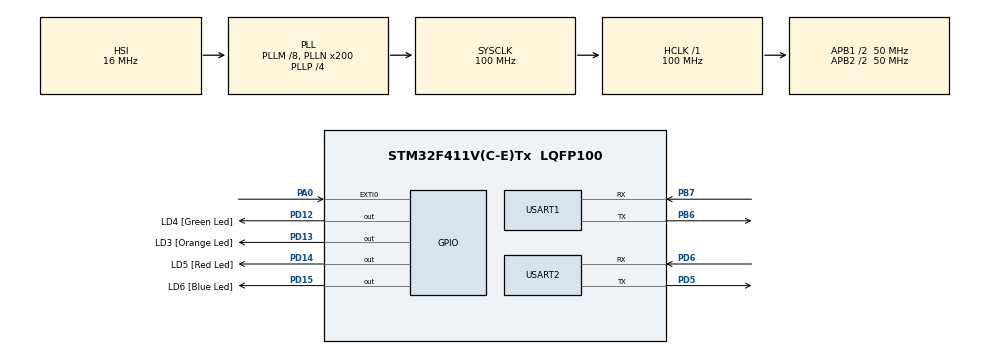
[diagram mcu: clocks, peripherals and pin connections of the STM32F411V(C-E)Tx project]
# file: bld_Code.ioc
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Mcu.Family=STM32F4
Mcu.Name=STM32F411V(C-E)Tx
Mcu.Package=LQFP100
NVIC.PriorityGroup=NVIC_PRIORITYGROUP_0
PA0-WKUP.GPIO_ModeDefaultEXTI=GPIO_MODE_EVT_RISING
PA0-WKUP.Signal=GPXTI0
PA13.GPIO_Label=SWDIO
PA13.Signal=SYS_JTMS-SWDIO
PA14.GPIO_Label=SWCLK
PA14.Signal=SYS_JTCK-SWCLK
PB3.GPIO_Label=SWO
PB3.Signal=SYS_JTDO-SWO
PB6.Mode=Asynchronous
PB6.Signal=USART1_TX
PB7.Mode=Asynchronous
PB7.Signal=USART1_RX
PD12.GPIO_Label=LD4 [Green Led]
PD12.GPIO_PuPd=GPIO_NOPULL
PD12.GPIO_Speed=GPIO_SPEED_FREQ_LOW
PD12.Signal=GPIO_Output
PD13.GPIO_Label=LD3 [Orange Led]
PD13.GPIO_PuPd=GPIO_NOPULL
PD13.GPIO_Speed=GPIO_SPEED_FREQ_LOW
PD13.Signal=GPIO_Output
PD14.GPIO_Label=LD5 [Red Led]
PD14.GPIO_PuPd=GPIO_NOPULL
PD14.GPIO_Speed=GPIO_SPEED_FREQ_LOW
PD14.Signal=GPIO_Output
PD15.GPIO_Label=LD6 [Blue Led]
PD15.GPIO_PuPd=GPIO_NOPULL
PD15.GPIO_Speed=GPIO_SPEED_FREQ_LOW
PD15.Signal=GPIO_Output
PD5.Mode=Asynchronous
PD5.Signal=USART2_TX
PD6.Mode=Asynchronous
PD6.Signal=USART2_RX
ProjectManager.HeapSize=0x200
ProjectManager.StackSize=0x400
ProjectManager.TargetToolchain=STM32CubeIDE
RCC.48MHZClocksFreq_Value=50000000
RCC.AHBFreq_Value=100000000
RCC.APB1CLKDivider=RCC_HCLK_DIV2
RCC.APB1Freq_Value=50000000
RCC.APB1TimFreq_Value=100000000
RCC.APB2CLKDivider=RCC_HCLK_DIV2
RCC.APB2Freq_Value=50000000
RCC.APB2TimFreq_Value=100000000
RCC.CortexFreq_Value=100000000
RCC.HCLKFreq_Value=100000000
RCC.HSE_VALUE=8000000
RCC.HSI_VALUE=16000000
RCC.LSE_VALUE=32768
RCC.PLLI2SM=5
RCC.PLLI2SN=200
RCC.PLLM=8
RCC.PLLN=200
RCC.PLLP=RCC_PLLP_DIV4
RCC.PLLQ=8
RCC.SYSCLKFreq_VALUE=100000000
RCC.SYSCLKSource=RCC_SYSCLKSOURCE_PLLCLK
RCC.VCOOutputFreq_Value=400000000
USART1.VirtualMode=VM_ASYNC
USART2.VirtualMode=VM_ASYNC
VP_CRC_VS_CRC.Mode=CRC_Activate
board=STM32F411E-DISCO

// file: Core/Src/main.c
/* USER CODE BEGIN Header */
/**
 ******************************************************************************
 * @file           : main.c
 * @brief          : Main program body
 ******************************************************************************
 * @attention
 *
 * Copyright (c) 2023 STMicroelectronics.
 * All rights reserved.
 *
 * This software is licensed under terms that can be found in the LICENSE file
 * in the root directory of this software component.
 * If no LICENSE file comes with this software, it is provided AS-IS.
 *
 ******************************************************************************
 */
/* USER CODE END Header */
#include "main.h"

/* USER CODE BEGIN Includes */
#include <stdarg.h>
#include <string.h>
#include <stdint.h>
#include <stdio.h>
/* USER CODE END Includes */

CRC_HandleTypeDef hcrc;

UART_HandleTypeDef huart1;
UART_HandleTypeDef huart2;

/* USER CODE BEGIN PV */
#define FLASH_SECTOR2_BASE_ADDRESS 0x8008000U

//enable this line to get debug messages over debug uart
#define BL_DEBUG_MSG_EN

#define rc_data_length 200
uint8_t rc_data[rc_data_length];

#define BL_GET_VER 						0x51
#define BL_GET_HELP						0x52
#define BL_GET_CID						0x53
#define BL_GET_RDP_STATUS				0x54
#define BL_GO_TO_ADDR					0x55
#define BL_FLASH_ERASE					0x56
#define BBL_MEM_WRITE					0x57
#define BL_EN_R_W_PROTECT				0x58
#define BL_MEM_READ						0x59
#define BL_READ_SECTOR_STATUS			0x5A
#define BL_OTP_READ						0x5B
#define BL_DIS_R_W_PROTECT				0x5C

//#len details of the command
#define COMMAND_BL_GET_VER_LEN                              =6
#define COMMAND_BL_GET_HELP_LEN                             =6
#define COMMAND_BL_GET_CID_LEN                              =6
#define COMMAND_BL_GET_RDP_STATUS_LEN                       =6
#define COMMAND_BL_GO_TO_ADDR_LEN                           =10
#define COMMAND_BL_FLASH_ERASE_LEN                          =8
#define COMMAND_BL_MEM_WRITE_LEN                            =11
#define COMMAND_BL_EN_R_W_PROTECT_LEN                       =8
#define COMMAND_BL_READ_SECTOR_P_STATUS_LEN                 =6
#define COMMAND_BL_DIS_R_W_PROTECT_LEN                      =6
#define COMMAND_BL_MY_NEW_COMMAND_LEN                       =8

/*	CHECK CRC 	*/
#define CRC_CORRECT 	1
#define CRC_FAILED 		0

/* ACK and NACK bytes*/
#define BL_ACK   0XA5
#define BL_NACK  0X7F

//version 1.0
#define BL_VERSION 				0x10

#define ADDR_VALID 				0x00
#define ADDR_INVALID 			0x01

#define INVALID_SECTOR 			0x04

/*Some Start and End addresses of different memories of STM32F446xx MCU */
/*Change this according to your MCU */
#define SRAM1_SIZE            	128*1024     				// STM32F411xx has 128KB of SRAM1
#define SRAM1_END             	(SRAM1_BASE + SRAM1_SIZE)
#define FLASH_SIZE             	512*1024     				// STM32F411xx has 512KB of FLASH

/* USER CODE END PV */

void SystemClock_Config(void);
static void MX_GPIO_Init(void);
static void MX_CRC_Init(void);
static void MX_USART1_UART_Init(void);
static void MX_USART2_UART_Init(void);
/* USER CODE BEGIN PFP */
static void printmsg(char *format, ...);
static void userMode(void);
static void bootloaderMode(void);

void BL_GET_VER_handler(void);
void BL_GET_HELP_handler(void);
void BL_GET_CID_handler(void);
void BL_GET_RDP_STATUS_handler(void);
void BL_GO_TO_ADDR_handler(void);
void BL_FLASH_ERASE_handler(void);
void BL_MEM_WRITE_handler(void);
void BL_EN_R_W_PROTECT_handler(void);
void BL_MEM_READ_handler(void);
void BL_READ_SECTOR_STATUS_handler(void);
void BL_OTP_READ_handler(void);
void BL_DIS_R_W_PROTECT_handler(void);

uint8_t checkCRC(uint8_t *pBuffer_data, uint8_t pBuffer_len_cmd,
		uint32_t CRC_host);

void send_Reply(uint8_t *pBuffer, uint8_t length);
void send_NACK(void);
void send_ACK(uint8_t length);

uint8_t verify_address(uint32_t go_address);

uint8_t execute_mem_write(uint8_t *pBuffer, uint32_t mem_address, uint32_t len);

/* USER CODE END PFP */

int main(void) {

	/* MCU Configuration--------------------------------------------------------*/

	/* Reset of all peripherals, Initializes the Flash interface and the Systick. */
	HAL_Init();

	/* Configure the system clock */
	SystemClock_Config();

	/* Initialize all configured peripherals */
	MX_GPIO_Init();
	MX_CRC_Init();
	MX_USART1_UART_Init();
	MX_USART2_UART_Init();

	/* Infinite loop */
	while (1) {

		/* USER CODE BEGIN 3 */

		/* Lets check whether button is pressed or not, if not pressed jump to user application */
		if (HAL_GPIO_ReadPin(GPIOA, GPIO_PIN_0) == 1) {
			//			printmsg("BL_DEBUG_MSG:Button is pressed .. going to BL mode\n\r");
			HAL_GPIO_WritePin(GPIOD, LD4_Pin, GPIO_PIN_SET);
			//we should continue in bootloader mode
			bootloaderMode();

		} else {
			printmsg(
					"BL_DEBUG_MSG:Button is not pressed .. executing user app\n\r");
			HAL_GPIO_WritePin(GPIOD, LD3_Pin, GPIO_PIN_SET);

			//jump to user application
			userMode();

		}
	}
}
/* USER CODE END 3 */

void SystemClock_Config(void) {
	RCC_OscInitTypeDef RCC_OscInitStruct = { 0 };
	RCC_ClkInitTypeDef RCC_ClkInitStruct = { 0 };

	/** Configure the main internal regulator output voltage
	 */
	__HAL_RCC_PWR_CLK_ENABLE();
	__HAL_PWR_VOLTAGESCALING_CONFIG(PWR_REGULATOR_VOLTAGE_SCALE1);
	/** Initializes the RCC Oscillators according to the specified parameters
	 * in the RCC_OscInitTypeDef structure.
	 */
	RCC_OscInitStruct.OscillatorType = RCC_OSCILLATORTYPE_HSI;
	RCC_OscInitStruct.HSIState = RCC_HSI_ON;
	RCC_OscInitStruct.HSICalibrationValue = RCC_HSICALIBRATION_DEFAULT;
	RCC_OscInitStruct.PLL.PLLState = RCC_PLL_ON;
	RCC_OscInitStruct.PLL.PLLSource = RCC_PLLSOURCE_HSI;
	RCC_OscInitStruct.PLL.PLLM = 8;
	RCC_OscInitStruct.PLL.PLLN = 200;
	RCC_OscInitStruct.PLL.PLLP = RCC_PLLP_DIV4;
	RCC_OscInitStruct.PLL.PLLQ = 8;
	if (HAL_RCC_OscConfig(&RCC_OscInitStruct) != HAL_OK) {
		Error_Handler();
	}
	/** Initializes the CPU, AHB and APB buses clocks
	 */
	RCC_ClkInitStruct.ClockType = RCC_CLOCKTYPE_HCLK | RCC_CLOCKTYPE_SYSCLK
			| RCC_CLOCKTYPE_PCLK1 | RCC_CLOCKTYPE_PCLK2;
	RCC_ClkInitStruct.SYSCLKSource = RCC_SYSCLKSOURCE_PLLCLK;
	RCC_ClkInitStruct.AHBCLKDivider = RCC_SYSCLK_DIV1;
	RCC_ClkInitStruct.APB1CLKDivider = RCC_HCLK_DIV2;
	RCC_ClkInitStruct.APB2CLKDivider = RCC_HCLK_DIV2;

	if (HAL_RCC_ClockConfig(&RCC_ClkInitStruct, FLASH_LATENCY_3) != HAL_OK) {
		Error_Handler();
	}
}

static void MX_CRC_Init(void) {

	hcrc.Instance = CRC;
	if (HAL_CRC_Init(&hcrc) != HAL_OK) {
		Error_Handler();
	}

}

static void MX_USART1_UART_Init(void) {

	huart1.Instance = USART1;
	huart1.Init.BaudRate = 115200;
	huart1.Init.WordLength = UART_WORDLENGTH_8B;
	huart1.Init.StopBits = UART_STOPBITS_1;
	huart1.Init.Parity = UART_PARITY_NONE;
	huart1.Init.Mode = UART_MODE_TX_RX;
	huart1.Init.HwFlowCtl = UART_HWCONTROL_NONE;
	huart1.Init.OverSampling = UART_OVERSAMPLING_16;
	if (HAL_UART_Init(&huart1) != HAL_OK) {
		Error_Handler();
	}

}

static void MX_USART2_UART_Init(void) {

	huart2.Instance = USART2;
	huart2.Init.BaudRate = 115200;
	huart2.Init.WordLength = UART_WORDLENGTH_8B;
	huart2.Init.StopBits = UART_STOPBITS_1;
	huart2.Init.Parity = UART_PARITY_NONE;
	huart2.Init.Mode = UART_MODE_TX_RX;
	huart2.Init.HwFlowCtl = UART_HWCONTROL_NONE;
	huart2.Init.OverSampling = UART_OVERSAMPLING_16;
	if (HAL_UART_Init(&huart2) != HAL_OK) {
		Error_Handler();
	}

}

static void MX_GPIO_Init(void) {
	GPIO_InitTypeDef GPIO_InitStruct = { 0 };

	/* GPIO Ports Clock Enable */
	__HAL_RCC_GPIOA_CLK_ENABLE();
	__HAL_RCC_GPIOD_CLK_ENABLE();
	__HAL_RCC_GPIOB_CLK_ENABLE();

	/*Configure GPIO pin Output Level */
	HAL_GPIO_WritePin(GPIOD, LD4_Pin | LD3_Pin | LD5_Pin | LD6_Pin,
			GPIO_PIN_RESET);

	/*Configure GPIO pin : PA0 */
	GPIO_InitStruct.Pin = GPIO_PIN_0;
	GPIO_InitStruct.Mode = GPIO_MODE_EVT_RISING;
	GPIO_InitStruct.Pull = GPIO_NOPULL;
	HAL_GPIO_Init(GPIOA, &GPIO_InitStruct);

	/*Configure GPIO pins : LD4_Pin LD3_Pin LD5_Pin LD6_Pin */
	GPIO_InitStruct.Pin = LD4_Pin | LD3_Pin | LD5_Pin | LD6_Pin;
	GPIO_InitStruct.Mode = GPIO_MODE_OUTPUT_PP;
	GPIO_InitStruct.Pull = GPIO_NOPULL;
	GPIO_InitStruct.Speed = GPIO_SPEED_FREQ_LOW;
	HAL_GPIO_Init(GPIOD, &GPIO_InitStruct);

}

/* USER CODE BEGIN 4 */
/* prints formatted string to console over UART */
void printmsg(char *format, ...) {
#ifdef BL_DEBUG_MSG_EN
	char str[80];

	/*Extract the the argument list using VA apis */
	va_list args;
	va_start(args, format);
	vsprintf(str, format, args);
	HAL_UART_Transmit(&huart2, (uint8_t*) str, strlen(str), HAL_MAX_DELAY);
	va_end(args);
#endif
}

void userMode(void) {

	void (*reset_handler)(void);

// 1. configure the MSP by reading the value from the base address of the sector 2
	uint32_t msp_value = *(volatile uint32_t*) FLASH_SECTOR2_BASE_ADDRESS;

//This function comes from CMSIS.
	__set_MSP(msp_value);

	/* 2. Now fetch the reset handler address of the user application
	 * from the location FLASH_SECTOR2_BASE_ADDRESS+4
	 */
	uint32_t resethandler_address =
			*(volatile uint32_t*) (FLASH_SECTOR2_BASE_ADDRESS + 4);

	reset_handler = (void*) resethandler_address;

//3. jump to reset handler of the user application
	reset_handler();

}

void bootloaderMode(void) {

	uint8_t length_cmd = 0;
	while (1) {
		memset(rc_data, 0, rc_data_length);
		HAL_UART_Receive(&huart2, rc_data, 1, HAL_MAX_DELAY);
		length_cmd = rc_data[0];
		HAL_UART_Receive(&huart2, &rc_data[1], length_cmd, HAL_MAX_DELAY);

		switch (rc_data[1]) {
		case BL_GET_VER:
			BL_GET_VER_handler();
			break;
		case BL_GET_HELP:
			BL_GET_HELP_handler();
			break;
		case BL_GET_CID:
			BL_GET_CID_handler();
			break;
		case BL_GET_RDP_STATUS:
			BL_GET_RDP_STATUS_handler();
			break;
		case BL_GO_TO_ADDR:
			BL_GO_TO_ADDR_handler();
			break;
		case BL_FLASH_ERASE:
			BL_FLASH_ERASE_handler();
			break;
		case BBL_MEM_WRITE:
			BL_MEM_WRITE_handler();
			break;
		case BL_EN_R_W_PROTECT:
			BL_EN_R_W_PROTECT_handler();
			break;
		case BL_MEM_READ:
			BL_MEM_READ_handler();
			break;
		case BL_READ_SECTOR_STATUS:
			BL_READ_SECTOR_STATUS_handler();
			break;
		case BL_OTP_READ:
			BL_OTP_READ_handler();
			break;
		case BL_DIS_R_W_PROTECT:
			BL_DIS_R_W_PROTECT_handler();
			break;
		default:
			printmsg("invalid command!!!");
			break;
		}
	}
}
uint8_t checkCRC(uint8_t *pBuffer_data, uint8_t pBuffer_len_cmd,
		uint32_t CRC_host) {
	uint32_t value_CRC = 0;

	for (uint8_t var = 0; var <= (pBuffer_len_cmd - 4); ++var) {
		uint32_t value = pBuffer_data[var];
		value_CRC = HAL_CRC_Accumulate(&hcrc, &value, 1);
	}
	__HAL_CRC_DR_RESET(&hcrc);
	if (value_CRC == CRC_host)
		return CRC_CORRECT;
	return CRC_FAILED;
}

void send_ACK(uint8_t length) {
	uint8_t tx_buffer[2];
	tx_buffer[0] = BL_ACK;
	tx_buffer[1] = length;

	HAL_UART_Transmit(&huart2, tx_buffer, 2, HAL_MAX_DELAY);
}

void send_NACK(void) {
	uint8_t tx_buffer[1];
	tx_buffer[0] = BL_NACK;
	HAL_UART_Transmit(&huart2, tx_buffer, 1, HAL_MAX_DELAY);

}

void send_Reply(uint8_t *pBuffer, uint8_t length) {
	HAL_UART_Transmit(&huart2, pBuffer, length, HAL_MAX_DELAY);

}

//verify the address sent by the host .
uint8_t verify_address(uint32_t go_address) {
	//so, what are the valid addresses to which we can jump ?
	//can we jump to system memory ? yes
	//can we jump to sram1 memory ?  yes
	//can we jump to sram2 memory ? yes
	//can we jump to backup sram memory ? yes
	//can we jump to peripheral memory ? its possible , but dont allow. so no
	//can we jump to external memory ? yes.

//incomplete -poorly written .. optimize it
	if (go_address >= SRAM1_BASE && go_address <= SRAM1_END) {
		return ADDR_VALID;
	} else if (go_address >= FLASH_BASE && go_address <= FLASH_END) {
		return ADDR_VALID;
	} else
		return ADDR_INVALID;
}

uint8_t execute_flash_erase(uint8_t sector_number, uint8_t number_of_sector) {
	//we have totally 8 sectors in STM32F411 mcu .. sector[0 to 7]
	//number_of_sector has to be in the range of 0 to 7
	// if sector_number = 0xff , that means mass erase !

	FLASH_EraseInitTypeDef flashErase_handle;
	uint32_t sectorError;
	HAL_StatusTypeDef status;

	if (number_of_sector > 8)
		return INVALID_SECTOR;

	if ((sector_number == 0xff) || (sector_number <= 7)) {
		if (sector_number == (uint8_t) 0xff) {
			flashErase_handle.TypeErase = FLASH_TYPEERASE_MASSERASE;
		} else {
			/*Here we are just calculating how many sectors needs to erased */
			uint8_t remanining_sector = 8 - sector_number;
			if (number_of_sector > remanining_sector) {
				number_of_sector = remanining_sector;
			}
			flashErase_handle.TypeErase = FLASH_TYPEERASE_SECTORS;
			flashErase_handle.Sector = sector_number; // this is the initial sector
			flashErase_handle.NbSectors = number_of_sector;
		}
		flashErase_handle.Banks = FLASH_BANK_1;

		/*Get access to touch the flash registers */
		HAL_FLASH_Unlock();
		flashErase_handle.VoltageRange = FLASH_VOLTAGE_RANGE_3; // our mcu will work on this voltage range
		status = (uint8_t) HAL_FLASHEx_Erase(&flashErase_handle, &sectorError);
		HAL_FLASH_Lock();

		return status;
	}

	return INVALID_SECTOR;
}

/*This function writes the contents of pBuffer to  "mem_address" byte by byte */
//Note1 : Currently this function supports writing to Flash only .
//Note2 : This functions does not check whether "mem_address" is a valid address of the flash range.
uint8_t execute_mem_write(uint8_t *pBuffer, uint32_t mem_address, uint32_t len) {
	uint8_t status = HAL_OK;

	//We have to unlock flash module to get control of registers
	HAL_FLASH_Unlock();

	for (uint32_t i = 0; i < len; i++) {
		//Here we program the flash byte by byte
		status = HAL_FLASH_Program(FLASH_TYPEPROGRAM_BYTE, mem_address + i,
				pBuffer[i]);
	}

	HAL_FLASH_Lock();

	return status;
}

void BL_GET_VER_handler(void) {

	uint32_t length_cmd = rc_data[0] + 1;
	uint32_t CRC_host = *((uint32_t*) (rc_data + length_cmd - 4));
	if (checkCRC(rc_data, rc_data[0], CRC_host)) {
		send_ACK(1);
		uint8_t bootloader_ver = BL_VERSION;
		send_Reply(&bootloader_ver, 1);

	} else {
		send_NACK();
	}
}

void BL_GET_HELP_handler(void) {
	uint32_t length_cmd = rc_data[0] + 1;
	uint32_t CRC_host = *((uint32_t*) (rc_data + length_cmd - 4));
	if (checkCRC(rc_data, rc_data[0], CRC_host)) {
		send_ACK(12);
		uint8_t all_cmd[] = { BL_GET_VER, BL_GET_HELP, BL_GET_CID,
		BL_GET_RDP_STATUS, BL_GO_TO_ADDR,
		BL_FLASH_ERASE, BBL_MEM_WRITE, BL_EN_R_W_PROTECT, BL_MEM_READ,
		BL_READ_SECTOR_STATUS,
		BL_OTP_READ, BL_DIS_R_W_PROTECT };
		send_Reply(all_cmd, sizeof(all_cmd));

	} else {
		send_NACK();
	}
}

void BL_GET_CID_handler(void) {
	uint32_t length_cmd = rc_data[0] + 1;
	uint32_t CRC_host = *((uint32_t*) (rc_data + length_cmd - 4));
	if (checkCRC(rc_data, rc_data[0], CRC_host)) {
		send_ACK(2);
		uint16_t chip_id;
		chip_id = (uint16_t) (DBGMCU->IDCODE) & 0xFFF;

		send_Reply((uint8_t*) &chip_id, 2);

	} else {
		send_NACK();
	}
}

void BL_GET_RDP_STATUS_handler(void) {
	uint32_t length_cmd = rc_data[0] + 1;
	uint32_t CRC_host = *((uint32_t*) (rc_data + length_cmd - 4));
	if (checkCRC(rc_data, rc_data[0], CRC_host)) {
		send_ACK(1);

		uint8_t status_RDP = 0;
		volatile uint32_t *status_RDP_addr = (uint32_t*) 0x1FFFC000;
		status_RDP = (uint8_t) ((*status_RDP_addr) >> 8);

		send_Reply(&status_RDP, 1);

	} else {
		send_NACK();
	}
}

// USER_APP_ADDR = 0x0800889D
void BL_GO_TO_ADDR_handler(void) {
	uint32_t length_cmd = rc_data[0] + 1;
	uint32_t CRC_host = *((uint32_t*) (rc_data + length_cmd - 4));
	uint32_t go_address = 0;
	go_address = rc_data[2] | rc_data[3] << 8 | rc_data[4] << 16
			| rc_data[5] << 24;
	if (checkCRC(rc_data, rc_data[0], CRC_host)) {
		send_ACK(1);

		if (verify_address(go_address) == ADDR_VALID) {
			send_Reply((uint8_t*) ADDR_VALID, 1);
			void (*jump_addr)(void) = (void*)go_address;
			jump_addr();
		} else {
			send_Reply((uint8_t*) ADDR_INVALID, 1);
		}
	} else {
		send_NACK();
	}
}

void BL_FLASH_ERASE_handler(void) {
	uint32_t length_cmd = rc_data[0] + 1;
	uint32_t CRC_host = *((uint32_t*) (rc_data + length_cmd - 4));
	uint8_t erase_status = 0x00;

	if (checkCRC(rc_data, rc_data[0], CRC_host)) {
		send_ACK(1);
		HAL_GPIO_WritePin(GPIOD, LD5_Pin, 1);
		erase_status = execute_flash_erase(rc_data[2], rc_data[3]);
		HAL_GPIO_WritePin(GPIOD, LD5_Pin, 0);

		send_Reply(&erase_status, 1);

	} else {
		send_NACK();
	}
}

void BL_MEM_WRITE_handler(void) {
	uint32_t length_cmd = rc_data[0] + 1;
	uint32_t CRC_host = *((uint32_t*) (rc_data + length_cmd - 4));

	uint8_t write_status = 0x00;
	uint8_t payload_len = rc_data[6];

	uint32_t mem_address = *((uint32_t*) (&rc_data[2]));

	if (checkCRC(rc_data, rc_data[0], CRC_host)) {
		send_ACK(1);

		if (verify_address(mem_address) == ADDR_VALID) {

			//glow the led to indicate bootloader is currently writing to memory
			HAL_GPIO_WritePin(GPIOD, LD5_Pin, GPIO_PIN_SET);

			//execute mem write
			write_status = execute_mem_write(&rc_data[7], mem_address,
					payload_len);

			//turn off the led to indicate memory write is over
			HAL_GPIO_WritePin(GPIOD, LD5_Pin, GPIO_PIN_RESET);

			//inform host about the status
			send_Reply(&write_status, 1);
		} else {

			write_status = ADDR_INVALID;
			//inform host that address is invalid
			send_Reply(&write_status, 1);
		}

	} else {
		send_NACK();
	}
}

void BL_EN_R_W_PROTECT_handler(void) {

}

void BL_MEM_READ_handler(void) {

}

void BL_READ_SECTOR_STATUS_handler(void) {

}

void BL_OTP_READ_handler(void) {

}

void BL_DIS_R_W_PROTECT_handler(void) {

}

/* USER CODE END 4 */

void Error_Handler(void) {
	__disable_irq();
	while (1) {
	}
}
